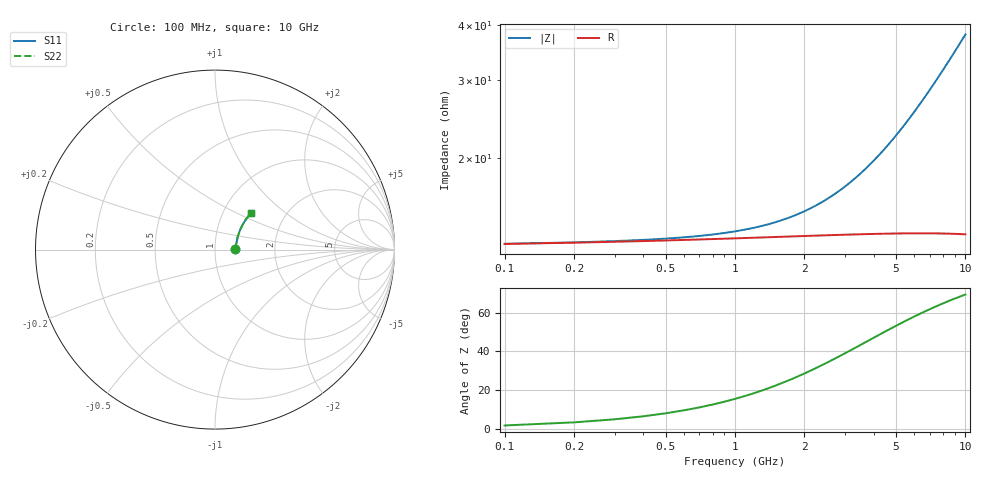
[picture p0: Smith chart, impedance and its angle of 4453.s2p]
# Hz S RI R 50.00
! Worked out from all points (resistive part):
!   100 points, 100 MHz to 10 GHz, reference 50 ohm
!   read as one part in series: R = 12.8 ohm at 100 MHz
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1e8  0.1131 0.00232  0.8869 -0.00335  0.8869 -0.00335  0.1131 0.00232
2e8  0.1138 0.00463  0.8862 -0.00669  0.8862 -0.00669  0.1138 0.00463
7e8  0.1159 0.0161  0.884 -0.0233  0.884 -0.0233  0.1159 0.0161
1e9  0.117 0.023  0.8829 -0.0333  0.8829 -0.0333  0.117 0.023
1.2e9  0.1177 0.0275  0.8822 -0.0399  0.8822 -0.0399  0.1177 0.0275
1.4e9  0.1185 0.0321  0.8814 -0.0465  0.8814 -0.0465  0.1185 0.0321
1.8e9  0.1201 0.0411  0.8797 -0.0597  0.8797 -0.0597  0.1201 0.0411
2.1e9  0.1214 0.0479  0.8783 -0.0695  0.8783 -0.0695  0.1214 0.0479
2.5e9  0.1233 0.0568  0.8763 -0.0826  0.8763 -0.0826  0.1233 0.0568
2.9e9  0.1255 0.0657  0.874 -0.0956  0.874 -0.0956  0.1255 0.0657
3.4e9  0.1285 0.0766  0.8708 -0.1117  0.8708 -0.1117  0.1285 0.0766
4.2e9  0.1341 0.0939  0.8648 -0.1372  0.8648 -0.1372  0.1341 0.0939
5.1e9  0.1415 0.1127  0.857 -0.1654  0.857 -0.1654  0.1415 0.1127
5.9e9  0.1491 0.129  0.8489 -0.1899  0.8489 -0.1899  0.1491 0.129
6.3e9  0.1532 0.1369  0.8445 -0.2019  0.8445 -0.2019  0.1532 0.1369
6.7e9  0.1575 0.1446  0.8399 -0.2138  0.8399 -0.2138  0.1575 0.1446
7.1e9  0.162 0.1522  0.8351 -0.2256  0.8351 -0.2256  0.162 0.1522
7.5e9  0.1667 0.1597  0.8301 -0.2372  0.8301 -0.2372  0.1667 0.1597
7.9e9  0.1716 0.1669  0.8248 -0.2486  0.8248 -0.2486  0.1716 0.1669
8.4e9  0.178 0.1758  0.818 -0.2626  0.818 -0.2626  0.178 0.1758
9.2e9  0.1888 0.1893  0.8064 -0.2845  0.8064 -0.2845  0.1888 0.1893
1e10  0.2002 0.2021  0.794 -0.3056  0.794 -0.3056  0.2002 0.2021
